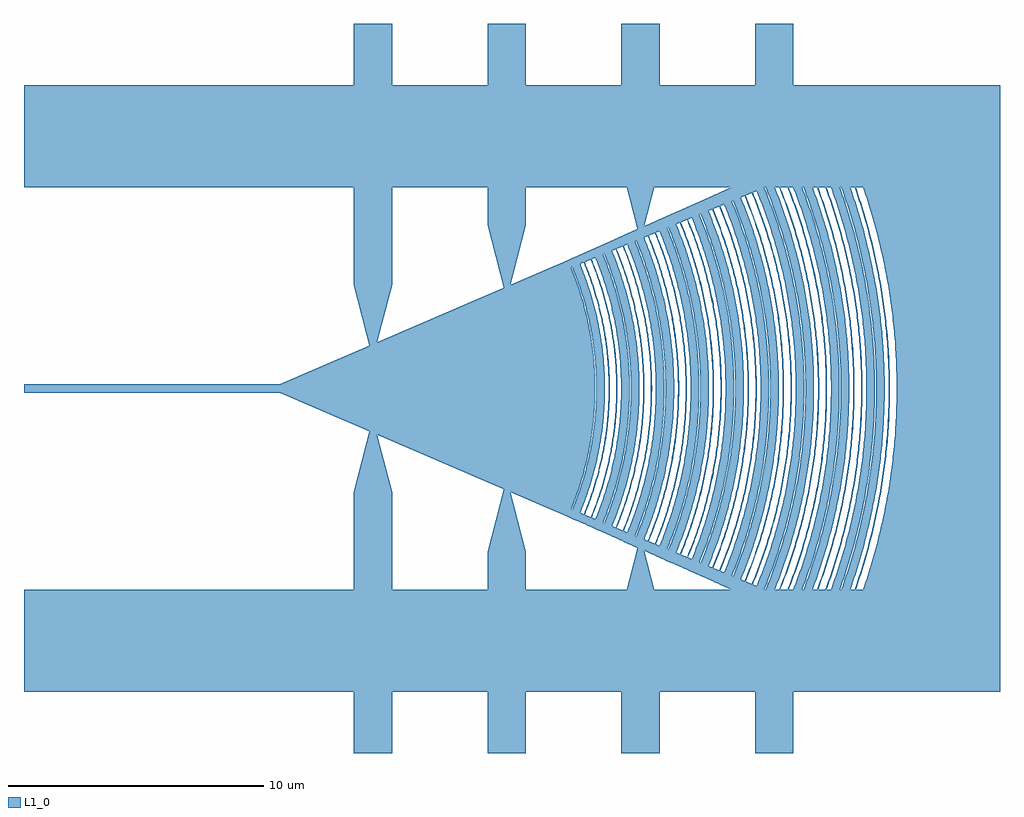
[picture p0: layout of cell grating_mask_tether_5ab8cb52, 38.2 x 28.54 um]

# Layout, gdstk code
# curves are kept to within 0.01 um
import gdstk
lib = gdstk.Library(unit=1e-6, precision=1e-09)
def R(c, l, rs):  # rectangles x0, y0, x1, y1
    for r in rs: c.add(gdstk.rectangle(r[:2], r[2:], *l))
def P(c, l, *ps):  # polygons
    for p in ps: c.add(gdstk.Polygon(p, *l))
L1_0 = (1, 0)

boolean_a914fc82 = lib.new_cell('boolean_a914fc82')
P(boolean_a914fc82, L1_0, [(17.9,-7.845),(18.326,-6.791),(18.622,-5.931),(18.907,-4.948),(19.14,-3.952),(19.337,-2.832),(19.459,-1.817),(19.532,-0.682),(19.541,0.341),(19.488,1.477),(19.384,2.495),(19.227,3.506),(19.093,4.175),(18.963,4.728),(18.755,5.496),(18.552,6.147),(18.326,6.791),(18.078,7.426),(17.887,7.874),(17.685,7.874),(17.551,7.814),(17.976,6.781),(18.306,5.831),(18.586,4.865),(18.838,3.776),(18.976,3.005),(19.095,2.119),(19.166,1.34),(19.21,0.335),(19.192,-0.894),(19.119,-1.897),(19.01,-2.784),(18.838,-3.776),(18.586,-4.865),(18.306,-5.831),(17.976,-6.781),(17.551,-7.814),(17.685,-7.874),(17.887,-7.874)],
  [(18.127,-7.819),(18.261,-7.502),(18.472,-6.967),(18.629,-6.536),(18.811,-5.991),(18.977,-5.442),(19.099,-4.999),(19.236,-4.441),(19.357,-3.88),(19.462,-3.315),(19.517,-2.975),(19.595,-2.406),(19.634,-2.064),(19.686,-1.492),(19.721,-0.919),(19.737,-0.459),(19.742,0.115),(19.73,0.689),(19.709,1.148),(19.677,1.606),(19.634,2.064),(19.595,2.406),(19.517,2.975),(19.422,3.541),(19.311,4.105),(19.21,4.553),(19.069,5.11),(18.913,5.662),(18.74,6.21),(18.512,6.86),(18.261,7.502),(18.104,7.874),(18.06,7.874),(18.224,7.486),(18.434,6.953),(18.591,6.522),(18.773,5.979),(18.907,5.541),(19.06,4.988),(19.197,4.432),(19.295,3.984),(19.382,3.534),(19.477,2.969),(19.541,2.515),(19.594,2.059),(19.645,1.489),(19.675,1.031),(19.69,0.688),(19.702,0),(19.69,-0.688),(19.675,-1.031),(19.645,-1.489),(19.594,-2.059),(19.541,-2.515),(19.477,-2.969),(19.422,-3.308),(19.318,-3.872),(19.197,-4.432),(19.06,-4.988),(18.97,-5.32),(18.841,-5.76),(18.702,-6.197),(18.514,-6.738),(18.31,-7.274),(18.06,-7.874),(18.104,-7.874)],
  [(18.454,-7.833),(18.632,-7.402),(18.839,-6.857),(18.993,-6.417),(19.172,-5.861),(19.303,-5.414),(19.424,-4.963),(19.56,-4.396),(19.657,-3.94),(19.723,-3.596),(19.819,-3.021),(19.899,-2.443),(19.95,-1.979),(19.991,-1.515),(20.026,-0.933),(20.045,-0.35),(20.048,0.117),(20.036,0.7),(20.014,1.166),(19.982,1.631),(19.926,2.211),(19.869,2.675),(19.783,3.251),(19.68,3.825),(19.61,4.168),(19.48,4.737),(19.365,5.189),(19.206,5.75),(19.067,6.195),(18.879,6.747),(18.632,7.402),(18.437,7.874),(18.393,7.874),(18.551,7.495),(18.761,6.952),(18.918,6.514),(19.099,5.961),(19.233,5.515),(19.356,5.066),(19.495,4.501),(19.594,4.046),(19.704,3.474),(19.779,3.015),(19.844,2.554),(19.91,1.976),(19.951,1.512),(19.986,0.931),(20.005,0.349),(20.008,0),(20.005,-0.349),(19.986,-0.931),(19.951,-1.512),(19.91,-1.976),(19.844,-2.554),(19.796,-2.9),(19.724,-3.36),(19.64,-3.818),(19.546,-4.274),(19.441,-4.727),(19.296,-5.291),(19.2,-5.627),(19.028,-6.183),(18.841,-6.733),(18.637,-7.279),(18.393,-7.874),(18.437,-7.874)],
  [(18.996,-7.804),(19.339,-6.912),(19.64,-6.004),(19.927,-4.968),(20.16,-3.919),(20.337,-2.858),(20.459,-1.79),(20.52,-0.836),(20.534,0.358),(20.515,0.955),(20.469,1.671),(20.353,2.74),(20.16,3.919),(19.898,5.084),(19.674,5.89),(19.457,6.573),(19.173,7.36),(18.967,7.874),(18.61,7.874),(18.948,7.022),(19.254,6.132),(19.488,5.343),(19.741,4.316),(19.92,3.393),(20.084,2.229),(20.166,1.292),(20.204,0.353),(20.195,-0.705),(20.13,-1.761),(19.994,-2.929),(19.836,-3.856),(19.607,-4.889),(19.324,-5.908),(18.948,-7.022),(18.61,-7.874),(18.967,-7.874)],
  [(19.396,-7.836),(19.739,-6.926),(20.075,-5.883),(20.327,-4.943),(20.58,-3.752),(20.748,-2.67),(20.85,-1.702),(20.91,-0.608),(20.916,0.365),(20.902,0.852),(20.85,1.702),(20.732,2.791),(20.535,3.992),(20.268,5.179),(20.075,5.883),(19.857,6.58),(19.573,7.383),(19.38,7.874),(19.024,7.874),(19.388,6.929),(19.654,6.134),(19.918,5.213),(20.164,4.163),(20.297,3.457),(20.45,2.39),(20.547,1.317),(20.586,0.359),(20.572,-0.838),(20.511,-1.794),(20.389,-2.865),(20.211,-3.929),(20.006,-4.865),(19.724,-5.905),(19.388,-6.929),(19.024,-7.874),(19.38,-7.874)],
  [(19.627,-7.797),(19.803,-7.339),(20.008,-6.759),(20.16,-6.292),(20.301,-5.821),(20.462,-5.228),(20.578,-4.751),(20.683,-4.271),(20.777,-3.788),(20.914,-2.939),(20.99,-2.33),(21.039,-1.841),(21.076,-1.351),(21.102,-0.86),(21.116,-0.369),(21.119,0.123),(21.11,0.614),(21.09,1.105),(21.059,1.596),(21.016,2.085),(20.962,2.574),(20.878,3.182),(20.777,3.788),(20.683,4.271),(20.578,4.751),(20.462,5.228),(20.301,5.821),(20.16,6.292),(19.928,6.992),(19.672,7.683),(19.596,7.874),(19.553,7.874),(19.765,7.325),(19.93,6.863),(20.085,6.397),(20.228,5.928),(20.361,5.456),(20.511,4.861),(20.692,4.022),(20.78,3.54),(20.874,2.934),(20.922,2.569),(20.988,1.959),(21.036,1.348),(21.056,0.981),(21.076,0.368),(21.079,0),(21.076,-0.368),(21.056,-0.981),(21.036,-1.348),(20.988,-1.959),(20.922,-2.569),(20.874,-2.934),(20.8,-3.419),(20.715,-3.902),(20.539,-4.742),(20.423,-5.218),(20.329,-5.574),(20.158,-6.163),(19.97,-6.746),(19.808,-7.209),(19.553,-7.874),(19.596,-7.874)],
  [(19.959,-7.795),(20.135,-7.328),(20.3,-6.858),(20.454,-6.384),(20.597,-5.906),(20.729,-5.425),(20.878,-4.82),(20.959,-4.455),(21.057,-3.966),(21.123,-3.598),(21.201,-3.105),(21.282,-2.488),(21.334,-1.992),(21.375,-1.495),(21.404,-0.997),(21.424,-0.374),(21.427,0.125),(21.418,0.623),(21.398,1.121),(21.366,1.619),(21.322,2.116),(21.252,2.735),(21.201,3.105),(21.123,3.598),(21.009,4.211),(20.878,4.82),(20.76,5.304),(20.631,5.786),(20.491,6.265),(20.26,6.976),(20.004,7.679),(19.928,7.874),(19.884,7.874),(20.054,7.432),(20.222,6.963),(20.378,6.49),(20.524,6.014),(20.658,5.535),(20.781,5.053),(20.893,4.568),(20.994,4.081),(21.083,3.591),(21.161,3.1),(21.242,2.483),(21.294,1.988),(21.335,1.492),(21.364,0.995),(21.381,0.498),(21.387,0),(21.381,-0.498),(21.364,-0.995),(21.335,-1.492),(21.294,-1.988),(21.27,-2.236),(21.196,-2.853),(21.123,-3.346),(21.04,-3.836),(20.97,-4.203),(20.866,-4.69),(20.781,-5.053),(20.658,-5.535),(20.488,-6.134),(20.262,-6.845),(20.097,-7.315),(19.884,-7.874),(19.928,-7.874)],
  [(20.461,-7.854),(20.804,-6.894),(21.102,-5.918),(21.355,-4.93),(21.561,-3.931),(21.737,-2.797),(21.844,-1.783),(21.903,-0.765),(21.913,0.382),(21.854,1.656),(21.737,2.797),(21.538,4.057),(21.296,5.178),(21.102,5.918),(20.921,6.53),(20.68,7.256),(20.453,7.874),(20.1,7.874),(20.37,7.147),(20.681,6.191),(20.916,5.344),(21.167,4.242),(21.322,3.377),(21.456,2.381),(21.535,1.506),(21.582,0.502),(21.579,-0.628),(21.526,-1.631),(21.427,-2.631),(21.26,-3.749),(21.062,-4.734),(20.786,-5.83),(20.492,-6.79),(20.1,-7.874),(20.453,-7.874)],
  [(20.864,-7.87),(21.208,-6.891),(21.471,-6.022),(21.756,-4.89),(21.96,-3.872),(22.117,-2.846),(22.225,-1.814),(22.285,-0.778),(22.296,0.389),(22.245,1.556),(22.117,2.846),(21.914,4.127),(21.668,5.269),(21.325,6.52),(21.126,7.137),(20.863,7.874),(20.511,7.874),(20.815,7.032),(21.084,6.179),(21.318,5.315),(21.567,4.192),(21.738,3.184),(21.85,2.296),(21.933,1.278),(21.967,0.383),(21.957,-0.767),(21.887,-1.915),(21.774,-2.931),(21.614,-3.941),(21.436,-4.818),(21.154,-5.933),(20.815,-7.032),(20.511,-7.873)],
  [(21.099,-7.819),(21.275,-7.326),(21.44,-6.828),(21.556,-6.453),(21.7,-5.95),(21.768,-5.697),(21.924,-5.062),(22.036,-4.55),(22.136,-4.036),(22.224,-3.52),(22.3,-3.002),(22.364,-2.482),(22.415,-1.961),(22.455,-1.439),(22.482,-0.916),(22.495,-0.524),(22.501,0),(22.495,0.524),(22.47,1.178),(22.437,1.7),(22.391,2.222),(22.349,2.612),(22.282,3.131),(22.203,3.649),(22.112,4.165),(22.009,4.678),(21.864,5.316),(21.734,5.824),(21.593,6.328),(21.359,7.078),(21.144,7.696),(21.078,7.874),(21.035,7.874),(21.321,7.065),(21.441,6.692),(21.591,6.191),(21.729,5.687),(21.825,5.307),(21.97,4.67),(22.073,4.157),(22.142,3.771),(22.224,3.255),(22.309,2.607),(22.351,2.218),(22.406,1.567),(22.43,1.175),(22.455,0.523),(22.461,0),(22.455,-0.523),(22.442,-0.914),(22.415,-1.436),(22.375,-1.958),(22.324,-2.478),(22.277,-2.867),(22.224,-3.255),(22.142,-3.771),(22.073,-4.157),(21.97,-4.67),(21.885,-5.053),(21.762,-5.56),(21.591,-6.191),(21.441,-6.692),(21.237,-7.312),(21.035,-7.874),(21.078,-7.874)],
  [(21.435,-7.802),(21.611,-7.301),(21.735,-6.922),(21.89,-6.415),(22.033,-5.904),(22.165,-5.389),(22.284,-4.872),(22.366,-4.483),(22.464,-3.961),(22.57,-3.306),(22.624,-2.912),(22.686,-2.384),(22.724,-1.988),(22.764,-1.459),(22.792,-0.929),(22.807,-0.398),(22.81,0.133),(22.801,0.663),(22.786,1.061),(22.755,1.591),(22.712,2.12),(22.656,2.648),(22.57,3.306),(22.464,3.961),(22.416,4.222),(22.312,4.743),(22.196,5.26),(22.067,5.775),(21.927,6.287),(21.735,6.922),(21.48,7.677),(21.408,7.874),(21.365,7.874),(21.53,7.413),(21.656,7.036),(21.814,6.531),(21.96,6.021),(22.062,5.637),(22.187,5.122),(22.3,4.605),(22.401,4.084),(22.469,3.693),(22.549,3.169),(22.601,2.775),(22.672,2.117),(22.715,1.588),(22.746,1.059),(22.761,0.662),(22.77,0.133),(22.769,-0.265),(22.756,-0.795),(22.732,-1.324),(22.695,-1.853),(22.646,-2.38),(22.601,-2.775),(22.549,-3.169),(22.469,-3.693),(22.377,-4.215),(22.273,-4.734),(22.157,-5.251),(22.062,-5.637),(21.888,-6.276),(21.736,-6.784),(21.573,-7.288),(21.365,-7.874),(21.408,-7.874)],
  [(21.941,-7.842),(22.322,-6.683),(22.575,-5.768),(22.819,-4.712),(23.014,-3.645),(23.173,-2.436),(23.253,-1.49),(23.297,-0.407),(23.291,0.678),(23.212,2.031),(23.074,3.243),(22.898,4.313),(22.641,5.505),(22.322,6.683),(21.93,7.874),(21.581,7.874),(21.89,6.972),(22.12,6.204),(22.354,5.298),(22.576,4.252),(22.73,3.33),(22.861,2.268),(22.926,1.469),(22.967,0.535),(22.967,-0.535),(22.917,-1.602),(22.818,-2.667),(22.669,-3.726),(22.471,-4.776),(22.224,-5.817),(21.89,-6.972),(21.581,-7.874),(21.93,-7.874)],
  [(22.348,-7.841),(22.689,-6.793),(22.98,-5.73),(23.222,-4.654),(23.392,-3.705),(23.554,-2.476),(23.644,-1.377),(23.682,-0.276),(23.674,0.689),(23.616,1.79),(23.49,3.023),(23.3,4.248),(23.077,5.328),(22.728,6.66),(22.336,7.874),(21.989,7.874),(22.255,7.088),(22.525,6.176),(22.788,5.122),(22.977,4.189),(23.129,3.251),(23.242,2.306),(23.317,1.358),(23.35,0.543),(23.35,-0.543),(23.299,-1.629),(23.214,-2.577),(23.069,-3.654),(22.874,-4.723),(22.629,-5.782),(22.336,-6.829),(21.989,-7.874),(22.336,-7.874)],
  [(22.586,-7.777),(22.761,-7.249),(22.884,-6.851),(23.037,-6.317),(23.144,-5.914),(23.275,-5.373),(23.394,-4.83),(23.475,-4.421),(23.571,-3.874),(23.655,-3.324),(23.726,-2.773),(23.771,-2.359),(23.819,-1.805),(23.855,-1.25),(23.873,-0.834),(23.884,-0.417),(23.887,0.139),(23.873,0.834),(23.855,1.25),(23.819,1.805),(23.784,2.22),(23.726,2.773),(23.674,3.187),(23.593,3.737),(23.5,4.285),(23.394,4.83),(23.306,5.238),(23.178,5.779),(23.037,6.317),(22.844,6.984),(22.631,7.645),(22.552,7.874),(22.51,7.874),(22.637,7.501),(22.805,6.972),(22.961,6.44),(23.105,5.904),(23.236,5.364),(23.355,4.822),(23.509,4.004),(23.634,3.181),(23.702,2.631),(23.744,2.217),(23.779,1.802),(23.815,1.248),(23.837,0.694),(23.847,0.139),(23.846,-0.278),(23.833,-0.832),(23.815,-1.248),(23.779,-1.802),(23.702,-2.631),(23.634,-3.181),(23.554,-3.73),(23.485,-4.141),(23.355,-4.822),(23.172,-5.634),(23.035,-6.172),(22.885,-6.706),(22.68,-7.369),(22.51,-7.874),(22.552,-7.874)],
  [(22.842,7.865),(23.144,6.929),(23.407,5.981),(23.631,5.023),(23.816,4.057),(23.979,2.944),(24.079,1.965),(24.139,0.984),(24.159,0),(24.139,-0.984),(24.079,-1.965),(23.979,-2.944),(23.816,-4.057),(23.631,-5.023),(23.407,-5.981),(23.144,-6.929),(22.839,-7.874),(24.199,-7.874),(24.199,7.874)],
  [(17.55,-7.692),(17.929,-6.763),(18.292,-5.709),(18.538,-4.852),(18.766,-3.875),(18.926,-2.998),(19.057,-2.003),(19.136,-1.003),(19.162,0.111),(19.13,1.114),(19.045,2.114),(18.89,3.218),(18.72,4.093),(18.48,5.067),(18.224,5.921),(17.929,6.763),(17.505,7.794),(17.203,7.659),(17.541,6.85),(17.875,5.923),(18.161,4.979),(18.373,4.129),(18.564,3.162),(18.704,2.186),(18.799,1.095),(18.831,0.11),(18.811,-0.876),(18.739,-1.859),(18.616,-2.838),(18.442,-3.808),(18.245,-4.662),(17.943,-5.715),(17.619,-6.646),(17.203,-7.659),(17.505,-7.794)],
  [(17.103,-7.496),(17.273,-7.096),(17.472,-6.591),(17.621,-6.182),(17.76,-5.77),(17.858,-5.46),(18.009,-4.938),(18.145,-4.412),(18.266,-3.883),(18.331,-3.563),(18.427,-3.029),(18.507,-2.491),(18.56,-2.06),(18.603,-1.628),(18.642,-1.086),(18.666,-0.543),(18.674,0),(18.666,0.543),(18.642,1.086),(18.603,1.628),(18.56,2.06),(18.507,2.491),(18.427,3.029),(18.331,3.563),(18.266,3.883),(18.145,4.412),(18.009,4.938),(17.858,5.46),(17.76,5.77),(17.621,6.182),(17.472,6.591),(17.273,7.096),(17.059,7.595),(17.022,7.579),(17.236,7.081),(17.396,6.678),(17.583,6.169),(17.755,5.655),(17.851,5.344),(18.026,4.718),(18.106,4.403),(18.226,3.874),(18.291,3.555),(18.387,3.022),(18.467,2.486),(18.52,2.055),(18.572,1.516),(18.602,1.083),(18.626,0.542),(18.633,0.108),(18.631,-0.325),(18.618,-0.759),(18.588,-1.3),(18.553,-1.732),(18.495,-2.271),(18.437,-2.701),(18.369,-3.129),(18.27,-3.662),(18.18,-4.086),(18.08,-4.508),(17.97,-4.927),(17.851,-5.344),(17.688,-5.861),(17.51,-6.373),(17.277,-6.98),(17.022,-7.579),(17.059,-7.595)],
  [(16.825,-7.374),(17.072,-6.782),(17.225,-6.383),(17.369,-5.98),(17.503,-5.575),(17.658,-5.063),(17.798,-4.548),(17.899,-4.132),(17.99,-3.715),(18.072,-3.295),(18.16,-2.768),(18.233,-2.239),(18.28,-1.814),(18.325,-1.281),(18.35,-0.855),(18.367,-0.321),(18.37,0),(18.367,0.321),(18.35,0.855),(18.309,1.495),(18.269,1.92),(18.233,2.239),(18.16,2.768),(18.072,3.295),(17.968,3.819),(17.899,4.132),(17.744,4.754),(17.628,5.166),(17.503,5.575),(17.334,6.081),(17.111,6.683),(16.951,7.079),(16.781,7.472),(16.745,7.455),(16.995,6.866),(17.15,6.469),(17.331,5.967),(17.497,5.461),(17.648,4.95),(17.759,4.538),(17.929,3.811),(18.032,3.288),(18.104,2.867),(18.193,2.234),(18.229,1.916),(18.277,1.385),(18.304,0.959),(18.318,0.64),(18.329,0.107),(18.328,-0.213),(18.314,-0.746),(18.285,-1.279),(18.24,-1.81),(18.193,-2.234),(18.136,-2.657),(18.051,-3.183),(17.972,-3.602),(17.883,-4.019),(17.759,-4.538),(17.648,-4.95),(17.497,-5.461),(17.331,-5.967),(17.15,-6.469),(16.995,-6.866),(16.745,-7.455),(16.781,-7.472)],
  [(16.644,-7.295),(16.966,-6.513),(17.316,-5.515),(17.554,-4.703),(17.776,-3.778),(17.949,-2.843),(18.062,-2.005),(18.148,-0.951),(18.173,0),(18.148,0.951),(18.062,2.005),(17.949,2.843),(17.776,3.778),(17.554,4.703),(17.316,5.515),(16.966,6.513),(16.602,7.392),(16.298,7.256),(16.656,6.394),(16.935,5.612),(17.206,4.718),(17.451,3.709),(17.621,2.791),(17.743,1.865),(17.816,0.934),(17.841,0),(17.816,-0.934),(17.743,-1.865),(17.621,-2.791),(17.451,-3.709),(17.206,-4.718),(16.935,-5.612),(16.656,-6.394),(16.298,-7.256),(16.602,-7.392)],
  [(16.295,-7.142),(16.647,-6.279),(16.953,-5.399),(17.186,-4.605),(17.403,-3.699),(17.589,-2.681),(17.705,-1.757),(17.773,-0.828),(17.792,0),(17.773,0.828),(17.705,1.757),(17.589,2.681),(17.403,3.699),(17.186,4.605),(16.921,5.498),(16.61,6.376),(16.254,7.237),(15.95,7.101),(16.3,6.257),(16.605,5.395),(16.865,4.519),(17.057,3.729),(17.245,2.731),(17.364,1.825),(17.436,0.914),(17.46,0),(17.436,-0.914),(17.364,-1.825),(17.245,-2.731),(17.057,-3.729),(16.865,-4.519),(16.605,-5.395),(16.3,-6.257),(15.95,-7.101),(16.254,-7.237)],
  [(15.812,6.93),(16.007,6.467),(16.153,6.093),(16.257,5.81),(16.45,5.239),(16.595,4.759),(16.701,4.371),(16.775,4.079),(16.887,3.589),(16.984,3.097),(17.067,2.601),(17.123,2.204),(17.169,1.805),(17.207,1.405),(17.235,1.004),(17.259,0.402),(17.264,0),(17.259,-0.402),(17.235,-1.004),(17.207,-1.405),(17.169,-1.805),(17.123,-2.204),(17.067,-2.601),(16.984,-3.097),(16.887,-3.589),(16.775,-4.079),(16.701,-4.371),(16.595,-4.759),(16.45,-5.239),(16.257,-5.81),(16.153,-6.093),(15.969,-6.56),(15.771,-7.022),(15.808,-7.038),(15.968,-6.669),(16.155,-6.201),(16.295,-5.824),(16.426,-5.443),(16.577,-4.963),(16.715,-4.479),(16.838,-3.991),(16.905,-3.696),(17.024,-3.104),(17.075,-2.806),(17.136,-2.408),(17.187,-2.009),(17.22,-1.709),(17.269,-1.107),(17.294,-0.604),(17.304,-0.101),(17.302,0.302),(17.29,0.704),(17.269,1.107),(17.22,1.709),(17.163,2.209),(17.107,2.607),(17.024,3.104),(16.926,3.598),(16.838,3.991),(16.715,4.479),(16.577,4.963),(16.426,5.443),(16.191,6.107),(15.968,6.669),(15.808,7.038),(15.771,7.022)],
  [(15.572,-6.825),(15.764,-6.369),(15.908,-6),(16.043,-5.629),(16.2,-5.16),(16.316,-4.781),(16.448,-4.305),(16.566,-3.825),(16.651,-3.438),(16.726,-3.05),(16.808,-2.562),(16.863,-2.17),(16.909,-1.777),(16.973,-0.989),(16.995,-0.495),(17.002,0),(16.995,0.495),(16.973,0.989),(16.909,1.777),(16.863,2.17),(16.808,2.562),(16.726,3.05),(16.651,3.438),(16.566,3.825),(16.448,4.305),(16.316,4.781),(16.17,5.254),(16.01,5.722),(15.837,6.185),(15.689,6.552),(15.532,6.915),(15.495,6.899),(15.689,6.445),(15.87,5.986),(16.069,5.429),(16.191,5.053),(16.277,4.77),(16.409,4.295),(16.527,3.815),(16.591,3.526),(16.65,3.236),(16.753,2.653),(16.81,2.263),(16.858,1.871),(16.897,1.478),(16.933,0.986),(16.951,0.592),(16.961,0.099),(16.957,-0.395),(16.943,-0.789),(16.927,-1.085),(16.888,-1.577),(16.823,-2.165),(16.768,-2.556),(16.704,-2.945),(16.631,-3.333),(16.481,-4.008),(16.358,-4.485),(16.249,-4.865),(16.069,-5.429),(15.87,-5.986),(15.689,-6.445),(15.495,-6.899),(15.532,-6.915)],
  [(15.393,-6.746),(15.76,-5.84),(16.044,-5.007),(16.284,-4.161),(16.46,-3.399),(16.615,-2.533),(16.715,-1.757),(16.784,-0.88),(16.807,0),(16.784,0.88),(16.715,1.757),(16.6,2.629),(16.44,3.494),(16.234,4.35),(15.954,5.287),(15.655,6.114),(15.354,6.836),(15.049,6.7),(15.345,5.993),(15.667,5.091),(15.912,4.264),(16.093,3.519),(16.271,2.577),(16.373,1.817),(16.44,1.054),(16.473,0.096),(16.456,-0.766),(16.393,-1.627),(16.271,-2.577),(16.133,-3.331),(15.912,-4.264),(15.667,-5.091),(15.345,-5.993),(15.049,-6.7),(15.354,-6.836)],
  [(15.045,-6.594),(15.403,-5.708),(15.652,-4.985),(15.867,-4.251),(16.087,-3.322),(16.239,-2.475),(16.346,-1.622),(16.409,-0.764),(16.426,0.096),(16.399,0.955),(16.326,1.812),(16.209,2.664),(16.027,3.602),(15.842,4.344),(15.593,5.167),(15.301,5.976),(15.006,6.681),(14.702,6.546),(15.024,5.767),(15.334,4.884),(15.545,4.165),(15.741,3.346),(15.895,2.518),(15.995,1.775),(16.066,0.936),(16.093,0.094),(16.071,-0.842),(16.005,-1.682),(15.895,-2.518),(15.741,-3.346),(15.545,-4.165),(15.334,-4.884),(15.024,-5.767),(14.702,-6.546),(15.006,-6.681)],
  [(14.599,-6.398),(14.744,-6.057),(14.881,-5.712),(15.01,-5.364),(15.159,-4.926),(15.322,-4.394),(15.42,-4.036),(15.51,-3.676),(15.61,-3.223),(15.681,-2.859),(15.743,-2.493),(15.797,-2.126),(15.852,-1.666),(15.894,-1.204),(15.922,-0.742),(15.937,-0.278),(15.939,0.093),(15.933,0.464),(15.907,1.019),(15.852,1.666),(15.797,2.126),(15.743,2.493),(15.681,2.859),(15.591,3.314),(15.51,3.676),(15.42,4.036),(15.322,4.394),(15.159,4.926),(15.01,5.364),(14.881,5.712),(14.744,6.057),(14.561,6.483),(14.524,6.467),(14.671,6.127),(14.876,5.611),(15.033,5.176),(15.177,4.737),(15.283,4.382),(15.404,3.936),(15.512,3.486),(15.589,3.124),(15.641,2.852),(15.717,2.396),(15.769,2.029),(15.812,1.662),(15.846,1.294),(15.882,0.74),(15.899,0),(15.882,-0.74),(15.846,-1.294),(15.812,-1.662),(15.769,-2.029),(15.717,-2.396),(15.673,-2.67),(15.589,-3.124),(15.449,-3.757),(15.333,-4.204),(15.231,-4.56),(15.092,-5.001),(14.908,-5.525),(14.741,-5.956),(14.524,-6.467),(14.561,-6.483)],
  [(14.323,-6.278),(14.431,-6.027),(14.6,-5.604),(14.757,-5.177),(14.901,-4.746),(14.982,-4.485),(15.106,-4.048),(15.196,-3.695),(15.297,-3.251),(15.432,-2.536),(15.499,-2.086),(15.553,-1.635),(15.594,-1.182),(15.622,-0.728),(15.639,0),(15.622,0.728),(15.594,1.182),(15.553,1.635),(15.499,2.086),(15.432,2.536),(15.297,3.251),(15.196,3.695),(15.106,4.048),(14.982,4.485),(14.873,4.833),(14.757,5.177),(14.6,5.604),(14.431,6.027),(14.287,6.361),(14.25,6.344),(14.428,5.927),(14.626,5.42),(14.778,4.992),(14.917,4.561),(15.113,3.862),(15.276,3.154),(15.361,2.709),(15.42,2.35),(15.471,1.991),(15.513,1.63),(15.554,1.179),(15.572,0.907),(15.592,0.454),(15.598,0.091),(15.589,-0.544),(15.572,-0.907),(15.531,-1.45),(15.459,-2.081),(15.392,-2.53),(15.312,-2.976),(15.238,-3.332),(15.135,-3.774),(15.019,-4.212),(14.917,-4.561),(14.778,-4.992),(14.626,-5.42),(14.428,-5.927),(14.25,-6.344),(14.287,-6.361)],
  [(14.146,-6.2),(14.452,-5.451),(14.717,-4.687),(14.919,-3.998),(15.108,-3.211),(15.241,-2.505),(15.361,-1.614),(15.429,-0.719),(15.445,0.09),(15.429,0.719),(15.361,1.614),(15.241,2.505),(15.108,3.211),(14.919,3.998),(14.717,4.687),(14.452,5.451),(14.11,6.282),(13.804,6.146),(14.107,5.415),(14.371,4.67),(14.596,3.911),(14.781,3.142),(14.911,2.451),(15.019,1.667),(15.09,0.791),(15.111,0),(15.09,-0.791),(15.019,-1.667),(14.911,-2.451),(14.781,-3.142),(14.596,-3.911),(14.371,-4.67),(14.107,-5.415),(13.804,-6.146),(14.11,-6.282)],
  [(13.798,-6.048),(14.127,-5.235),(14.355,-4.572),(14.575,-3.815),(14.772,-2.961),(14.894,-2.27),(14.992,-1.488),(15.045,-0.789),(15.065,0.088),(15.035,0.963),(14.974,1.662),(14.852,2.53),(14.718,3.218),(14.506,4.068),(14.301,4.739),(14.065,5.399),(13.763,6.128),(13.457,5.992),(13.722,5.359),(14.01,4.552),(14.229,3.813),(14.409,3.063),(14.536,2.389),(14.641,1.625),(14.701,0.942),(14.731,0.086),(14.719,-0.6),(14.659,-1.455),(14.563,-2.22),(14.427,-2.979),(14.229,-3.813),(14.01,-4.552),(13.722,-5.359),(13.457,-5.992),(13.763,-6.128)],
  [(13.353,-5.852),(13.611,-5.225),(13.729,-4.907),(13.866,-4.505),(13.991,-4.1),(14.104,-3.691),(14.186,-3.362),(14.278,-2.948),(14.358,-2.532),(14.413,-2.197),(14.46,-1.861),(14.508,-1.439),(14.549,-0.932),(14.567,-0.594),(14.579,0.085),(14.567,0.594),(14.549,0.932),(14.524,1.271),(14.481,1.693),(14.413,2.197),(14.358,2.532),(14.243,3.114),(14.146,3.527),(14.06,3.855),(13.967,4.181),(13.866,4.505),(13.729,4.907),(13.611,5.225),(13.453,5.618),(13.319,5.93),(13.282,5.913),(13.448,5.525),(13.633,5.052),(13.774,4.653),(13.878,4.332),(14.065,3.681),(14.147,3.353),(14.221,3.023),(14.303,2.608),(14.372,2.191),(14.42,1.856),(14.468,1.435),(14.519,0.761),(14.535,0.338),(14.539,0),(14.535,-0.338),(14.519,-0.761),(14.468,-1.435),(14.385,-2.107),(14.318,-2.525),(14.255,-2.857),(14.185,-3.188),(14.107,-3.517),(13.928,-4.17),(13.801,-4.573),(13.633,-5.052),(13.448,-5.525),(13.282,-5.913),(13.319,-5.93)],
  [(13.079,-5.732),(13.332,-5.118),(13.475,-4.728),(13.632,-4.255),(13.75,-3.856),(13.836,-3.535),(13.933,-3.131),(14.002,-2.806),(14.091,-2.316),(14.153,-1.905),(14.226,-1.245),(14.251,-0.913),(14.272,-0.498),(14.28,0.083),(14.272,0.498),(14.251,0.913),(14.226,1.245),(14.184,1.658),(14.091,2.316),(14.018,2.725),(13.951,3.05),(13.794,3.696),(13.607,4.334),(13.475,4.728),(13.332,5.118),(13.209,5.426),(13.046,5.808),(13.009,5.792),(13.172,5.411),(13.323,5.026),(13.491,4.558),(13.618,4.163),(13.733,3.766),(13.817,3.445),(13.946,2.88),(14.009,2.554),(14.077,2.146),(14.162,1.489),(14.193,1.159),(14.216,0.828),(14.234,0.414),(14.24,0),(14.234,-0.414),(14.216,-0.828),(14.193,-1.159),(14.162,-1.489),(14.077,-2.146),(14.009,-2.554),(13.946,-2.88),(13.817,-3.445),(13.733,-3.766),(13.618,-4.163),(13.491,-4.558),(13.323,-5.026),(13.172,-5.411),(13.009,-5.792),(13.046,-5.808)],
  [(12.904,-5.655),(13.211,-4.896),(13.424,-4.276),(13.63,-3.567),(13.798,-2.849),(13.928,-2.123),(14.02,-1.391),(14.074,-0.656),(14.089,0),(14.065,0.819),(14.003,1.554),(13.889,2.366),(13.764,3.009),(13.609,3.646),(13.374,4.431),(13.153,5.049),(12.871,5.73),(12.564,5.594),(12.84,4.929),(13.08,4.25),(13.284,3.56),(13.436,2.938),(13.584,2.151),(13.678,1.438),(13.73,0.8),(13.753,0.08),(13.738,-0.64),(13.686,-1.358),(13.584,-2.151),(13.469,-2.781),(13.305,-3.482),(13.08,-4.25),(12.84,-4.929),(12.564,-5.594),(12.871,-5.73)],
  [(12.556,-5.503),(12.799,-4.913),(13.063,-4.16),(13.263,-3.471),(13.41,-2.85),(13.541,-2.145),(13.626,-1.512),(13.691,-0.718),(13.709,0.08),(13.691,0.718),(13.626,1.512),(13.541,2.145),(13.41,2.85),(13.263,3.471),(13.063,4.16),(12.799,4.913),(12.524,5.576),(12.217,5.44),(12.429,4.938),(12.695,4.207),(12.898,3.536),(13.065,2.857),(13.184,2.246),(13.292,1.475),(13.351,0.778),(13.374,0),(13.351,-0.778),(13.292,-1.475),(13.184,-2.246),(13.065,-2.857),(12.898,-3.536),(12.695,-4.207),(12.429,-4.938),(12.217,-5.44),(12.524,-5.576)],
  [(12.111,-5.308),(12.232,-5.025),(12.373,-4.667),(12.478,-4.378),(12.6,-4.013),(12.69,-3.719),(12.793,-3.348),(12.935,-2.749),(13.049,-2.145),(13.095,-1.84),(13.143,-1.459),(13.18,-1.076),(13.201,-0.769),(13.218,-0.385),(13.224,0),(13.218,0.385),(13.201,0.769),(13.18,1.076),(13.143,1.459),(13.095,1.84),(13.049,2.145),(12.935,2.749),(12.793,3.348),(12.69,3.719),(12.6,4.013),(12.478,4.378),(12.373,4.667),(12.232,5.025),(12.08,5.378),(12.043,5.362),(12.165,5.08),(12.362,4.581),(12.49,4.219),(12.607,3.854),(12.773,3.264),(12.911,2.666),(13.021,2.062),(13.085,1.607),(13.119,1.302),(13.161,0.767),(13.175,0.46),(13.183,0.077),(13.181,-0.23),(13.169,-0.613),(13.151,-0.92),(13.119,-1.302),(13.044,-1.911),(12.983,-2.289),(12.926,-2.591),(12.862,-2.891),(12.773,-3.264),(12.629,-3.781),(12.49,-4.219),(12.362,-4.581),(12.223,-4.938),(12.043,-5.362),(12.08,-5.378)],
  [(11.839,-5.189),(11.957,-4.912),(12.095,-4.562),(12.294,-3.995),(12.405,-3.635),(12.486,-3.346),(12.561,-3.054),(12.644,-2.688),(12.717,-2.319),(12.779,-1.948),(12.856,-1.351),(12.884,-1.052),(12.913,-0.601),(12.927,0),(12.913,0.601),(12.884,1.052),(12.856,1.351),(12.779,1.948),(12.717,2.319),(12.644,2.688),(12.561,3.054),(12.486,3.346),(12.405,3.635),(12.294,3.995),(12.147,4.421),(12.041,4.703),(11.809,5.258),(11.772,5.241),(11.891,4.966),(12.057,4.548),(12.184,4.195),(12.301,3.839),(12.387,3.552),(12.485,3.19),(12.62,2.606),(12.677,2.311),(12.739,1.942),(12.79,1.57),(12.823,1.272),(12.86,0.824),(12.872,0.6),(12.886,0.075),(12.884,-0.225),(12.872,-0.6),(12.86,-0.824),(12.823,-1.272),(12.79,-1.57),(12.739,-1.942),(12.635,-2.532),(12.539,-2.972),(12.447,-3.335),(12.366,-3.624),(12.232,-4.053),(12.083,-4.478),(11.948,-4.827),(11.772,-5.241),(11.809,-5.258)],
  [(11.665,-5.113),(11.891,-4.564),(12.136,-3.865),(12.322,-3.225),(12.474,-2.576),(12.613,-1.773),(12.682,-1.184),(12.723,-0.593),(12.737,0.074),(12.711,0.814),(12.651,1.479),(12.556,2.139),(12.443,2.72),(12.303,3.296),(12.113,3.936),(11.891,4.564),(11.635,5.181),(11.328,5.043),(11.576,4.444),(11.793,3.832),(11.996,3.14),(12.114,2.649),(12.236,2.011),(12.332,1.296),(12.379,0.721),(12.4,0.072),(12.383,-0.649),(12.332,-1.296),(12.236,-2.011),(12.144,-2.508),(11.996,-3.14),(11.793,-3.832),(11.576,-4.444),(11.328,-5.043),(11.635,-5.181)],
  [(-10,-0.175),(0,-0.175),(11.289,-5.026),(11.563,-4.362),(11.753,-3.819),(11.937,-3.198),(12.103,-2.499),(12.217,-1.862),(12.298,-1.22),(12.348,-0.503),(12.356,0.216),(12.328,0.862),(12.266,1.506),(12.17,2.146),(12.073,2.64),(11.918,3.268),(11.731,3.887),(11.563,4.362),(11.289,5.026),(0,0.175),(-10,0.175)])

ring_5a34f1b9_transform_ = lib.new_cell('ring_5a34f1b9_transform_4891e448')
P(ring_5a34f1b9_transform_, L1_0, [(22.107,-9.157),(0,0),(22.107,-9.842)],
  [(22.107,-9.842),(22.357,-9.261),(22.107,-9.157)])

c_ring_5a34f1b9_transform_ = lib.new_cell('ring_5a34f1b9_transform_2b4d4207')
P(c_ring_5a34f1b9_transform_, L1_0, [(22.107,9.157),(22.107,9.842),(0,0)],
  [(22.357,9.26),(22.107,9.842),(22.107,9.157)])

c__tether_straight_length_ = lib.new_cell('_tether_straight_length_365c16c3')
R(c__tether_straight_length_, L1_0, [(2.904,4.057,4.404,14.272)])
P(c__tether_straight_length_, L1_0, [(3.754,1.557),(4.404,4.057),(2.904,4.057),(3.554,1.557)])

c__tether_straight_length__ = lib.new_cell('_tether_straight_length_939c5d48')
R(c__tether_straight_length__, L1_0, [(2.904,-14.272,4.404,-4.057)])
P(c__tether_straight_length__, L1_0, [(3.554,-1.557),(2.904,-4.057),(4.404,-4.057),(3.754,-1.557)])

c__tether_straight_length___ = lib.new_cell('_tether_straight_length_f7d68e3f')
R(c__tether_straight_length___, L1_0, [(8.141,6.389,9.641,14.272)])
P(c__tether_straight_length___, L1_0, [(8.991,3.889),(9.641,6.389),(8.141,6.389),(8.791,3.889)])

c__tether_straight_length____ = lib.new_cell('_tether_straight_length_c82320bf')
R(c__tether_straight_length____, L1_0, [(8.141,-14.272,9.641,-6.389)])
P(c__tether_straight_length____, L1_0, [(8.791,-3.889),(8.141,-6.389),(9.641,-6.389),(8.991,-3.889)])

c__tether_straight_length_____ = lib.new_cell('_tether_straight_length_032ade4b')
R(c__tether_straight_length_____, L1_0, [(13.379,8.721,14.879,14.272)])
P(c__tether_straight_length_____, L1_0, [(14.229,6.221),(14.879,8.721),(13.379,8.721),(14.029,6.221)])

c__tether_straight_length______ = lib.new_cell('_tether_straight_length_2b49b084')
R(c__tether_straight_length______, L1_0, [(13.379,-14.272,14.879,-8.721)])
P(c__tether_straight_length______, L1_0, [(14.029,-6.221),(13.379,-8.721),(14.879,-8.721),(14.229,-6.221)])

c__tether_straight_length_______ = lib.new_cell('_tether_straight_length_4eb544be')
R(c__tether_straight_length_______, L1_0, [(18.616,11.052,20.116,14.272)])
P(c__tether_straight_length_______, L1_0, [(19.466,8.552),(20.116,11.052),(18.616,11.052),(19.266,8.552)])

c__tether_straight_length________ = lib.new_cell('_tether_straight_length_cf5ed6d7')
R(c__tether_straight_length________, L1_0, [(18.616,-14.272,20.116,-11.052)])
P(c__tether_straight_length________, L1_0, [(19.266,-8.552),(18.616,-11.052),(20.116,-11.052),(19.466,-8.552)])

section_2skeleton_tethe_ = lib.new_cell('section_2skeleton_tethe_8046c094')
section_2skeleton_tethe_.add(gdstk.Reference(ring_5a34f1b9_transform_, (0,0)))
section_2skeleton_tethe_.add(gdstk.Reference(c_ring_5a34f1b9_transform_, (0,0)))
section_2skeleton_tethe_.add(gdstk.Reference(c__tether_straight_length_, (0,0)))
section_2skeleton_tethe_.add(gdstk.Reference(c__tether_straight_length__, (0,0)))
section_2skeleton_tethe_.add(gdstk.Reference(c__tether_straight_length___, (0,0)))
section_2skeleton_tethe_.add(gdstk.Reference(c__tether_straight_length____, (0,0)))
section_2skeleton_tethe_.add(gdstk.Reference(c__tether_straight_length_____, (0,0)))
section_2skeleton_tethe_.add(gdstk.Reference(c__tether_straight_length______, (0,0)))
section_2skeleton_tethe_.add(gdstk.Reference(c__tether_straight_length_______, (0,0)))
section_2skeleton_tethe_.add(gdstk.Reference(c__tether_straight_length________, (0,0)))

boolean_7116b155 = lib.new_cell('boolean_7116b155')
P(boolean_7116b155, L1_0, [(28.199,-11.874),(28.199,11.874),(-10,11.874),(-10,7.874),(24.199,7.874),(24.199,-7.874),(-10,-7.874),(-10,-11.874)])

grating_mask_tether_5ab8 = lib.new_cell('grating_mask_tether_5ab8cb52')
grating_mask_tether_5ab8.add(gdstk.Reference(boolean_a914fc82, (0,0)))
grating_mask_tether_5ab8.add(gdstk.Reference(section_2skeleton_tethe_, (0,0)))
grating_mask_tether_5ab8.add(gdstk.Reference(boolean_7116b155, (0,0)))

lib.write_gds('grating_mask_tether_5ab8cb52.gds')
